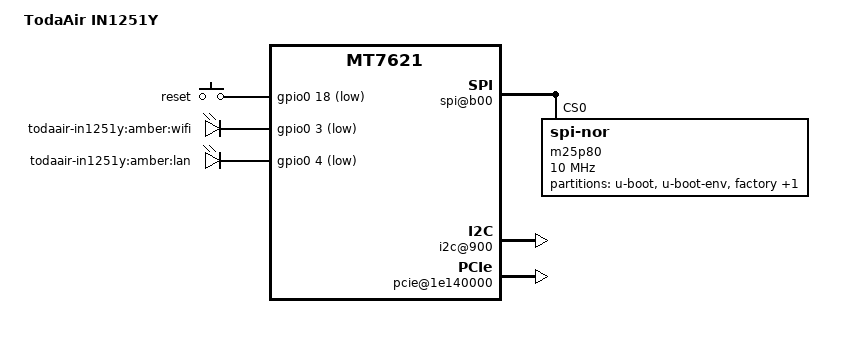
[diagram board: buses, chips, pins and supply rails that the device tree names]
/dts-v1/;

/include/ "mt7621.dtsi"

/ {
	compatible = "todaair-in1251y", "mediatek,mt7621-soc";
	model = "TodaAir IN1251Y";

	chosen {
		bootargs = "console=ttyS0,57600";
	};

	palmbus@1E000000 {
		spi@b00 {
			status = "okay";

			m25p80@0 {
				#address-cells = <1>;
				#size-cells = <1>;
				compatible = "jedec,spi-nor";
				reg = <0 0>;
				spi-max-frequency = <10000000>;

				partition@0 {
					label = "u-boot";
					reg = <0x0 0x30000>;
				};

				partition@30000 {
					label = "u-boot-env";
					reg = <0x30000 0x10000>;
				};

				factory: partition@40000 {
					label = "factory";
					reg = <0x40000 0x10000>;
				};

				partition@50000 {
					label = "firmware";
					reg = <0x50000 0xfb0000>;
				};

			};
		};

		i2c@900 {
			compatible = "ralink,i2c-mt7621";
			reg = <0x900 0x100>;
			#address-cells = <1>;
			#size-cells = <0>;
			pinctrl-names = "default";
			pinctrl-0 = <&i2c_pins>;
			status = "okay";
		};
	};

	pcie@1e140000 {
		status = "okay";

		pcie0 {
			mt76@0,0 {
				reg = <0x0000 0 0 0 0>;
				device_type = "pci";
				mediatek,mtd-eeprom = <&factory 0x0000>;
				mediatek,2ghz = <0>;
			};
		};

		pcie1 {
			mt76@1,0 {
				reg = <0x0000 0 0 0 0>;
				device_type = "pci";
				mediatek,mtd-eeprom = <&factory 0x8000>;
				mediatek,5ghz = <0>;
			};
		};
	};

	ethernet@1e100000 {
		mtd-mac-address = <&factory 0x4>;
	};

	gpio-keys-polled {
		compatible = "gpio-keys-polled";
		#address-cells = <1>;
		#size-cells = <0>;
		poll-interval = <20>;

		reset {
			label = "reset";
			gpios = <&gpio0 18 1>;
			linux,code = <0x198>;
		};
	};

	gpio-leds {
		compatible = "gpio-leds";

		wifi {
			label = "todaair-in1251y:amber:wifi";
			gpios = <&gpio0 3 1>;
		};

		lan {
			label = "todaair-in1251y:amber:lan";
			gpios = <&gpio0 4 1>;
		};
	};

	pinctrl {
		state_default: pinctrl0 {
			gpio {
				ralink,group = "i2c", "jtag", "uart2", "uart3";
				ralink,function = "gpio";
			};
		};
	};

};
